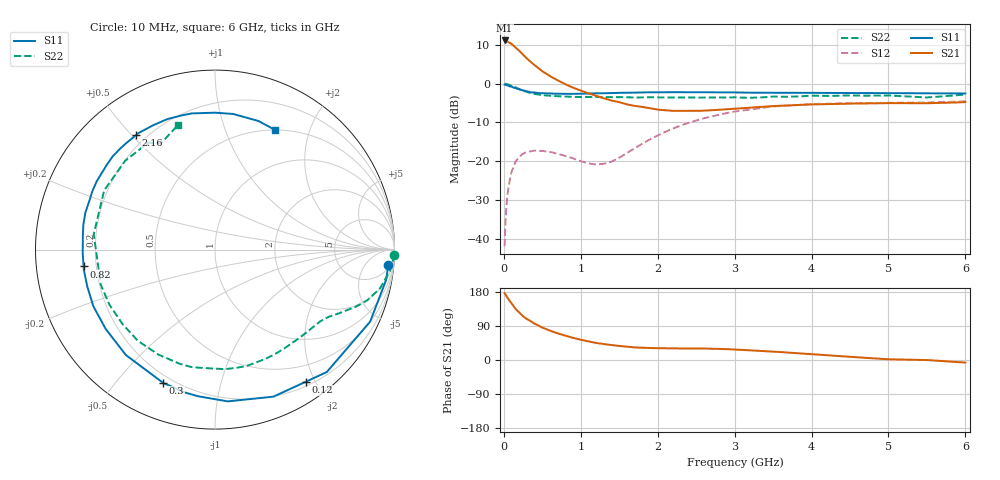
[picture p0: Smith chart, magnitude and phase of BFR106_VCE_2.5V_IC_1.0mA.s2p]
! Infineon Technologies  Discrete & RF Semiconductors
! BFR106
! VCE =  2.5 V,  IC =  1.0 mA
! Common Emitter S-Parameters:  Nov 2015
# GHz  S  MA  R  50
!  f  S11  S21  S12  S22
! GHz  MAG  ANG  MAG  ANG  MAG  ANG  MAG  ANG
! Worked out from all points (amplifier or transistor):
!   210 points, 10 MHz to 6 GHz, reference 50 ohm
!   highest |S21| = 11.1 dB at 10 MHz (marker M1)
!   |S21| within 3 dB of that: start of sweep to 216.5 MHz
!   unconditionally stable (mu >= 1): 853.8 MHz to end of sweep
!   at 185 MHz: K = 0.21, MSG = 14.0 dB, |S12| = -19.3 dB
!   at 1.52 GHz: K = 1.39, MAG = 3.3 dB, |S12| = -18.9 dB
!   at 6 GHz: K = 1.02, MAG = -1.0 dB, |S12| = -4.6 dB
!   S11 on the Smith chart (normalised r, x): 10 MHz: 7, -20; 120 MHz: 0.26, -1.87; 300 MHz: 0.17, -0.67; 820 MHz: 0.15, -0.06; 2.16 GHz: 0.16, +0.52; 6 GHz: 0.50, +1.51
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0.01  0.9698 -5.1  3.602 176.0  0.008 88.9  0.9993 -1.6
0.025  0.9613 -12.5  3.554 171.8  0.0192 81.3  0.993 -3.6
0.05  0.953 -24.9  3.484 163.2  0.0389 75.8  0.9808 -7.1
0.1  0.9237 -47.6  3.263 149.2  0.0724 63.5  0.9432 -13.4
0.12  0.8929 -55.6  3.111 144.0  0.0819 57.9  0.9228 -15.3
0.15  0.8817 -68.3  2.937 135.2  0.0972 51.6  0.8942 -18.4
0.2  0.8486 -85.2  2.655 125.0  0.1136 43.4  0.8491 -21.9
0.24  0.8224 -96.7  2.412 117.3  0.1225 37.5  0.8156 -24.2
0.3  0.7966 -111.3  2.101 107.9  0.1316 31.1  0.7792 -27.0
0.4  0.7692 -130.2  1.729 95.8  0.1368 22.9  0.735 -30.7
0.5  0.7525 -144.0  1.444 85.5  0.1354 17.7  0.7095 -34.3
0.64  0.7427 -158.6  1.187 74.5  0.1288 13.8  0.6927 -39.9
0.82  0.7381 -172.7  0.96 63.1  0.1151 13.2  0.6788 -47.4
1.02  0.7401 174.1  0.798 52.6  0.0985 19.7  0.6718 -56.4
1.4  0.7568 154.7  0.604 39.4  0.0986 52.1  0.6719 -75.0
2.02  0.7723 129.4  0.46 31.2  0.2191 69.5  0.6645 -108.4
2.16  0.7748 124.5  0.448 30.8  0.2536 67.7  0.6629 -116.1
2.6  0.774 110.0  0.447 30.3  0.3567 58.2  0.6615 -141.1
3.1  0.7666 97.8  0.481 26.6  0.4486 44.7  0.6591 -167.8
4.1  0.7604 81.2  0.541 14.0  0.5471 21.1  0.6962 148.6
5.1  0.7543 70.4  0.56 1.5  0.567 4.9  0.6945 121.0
6  0.7459 63.2  0.577 -6.8  0.592 -5.6  0.7222 106.7
